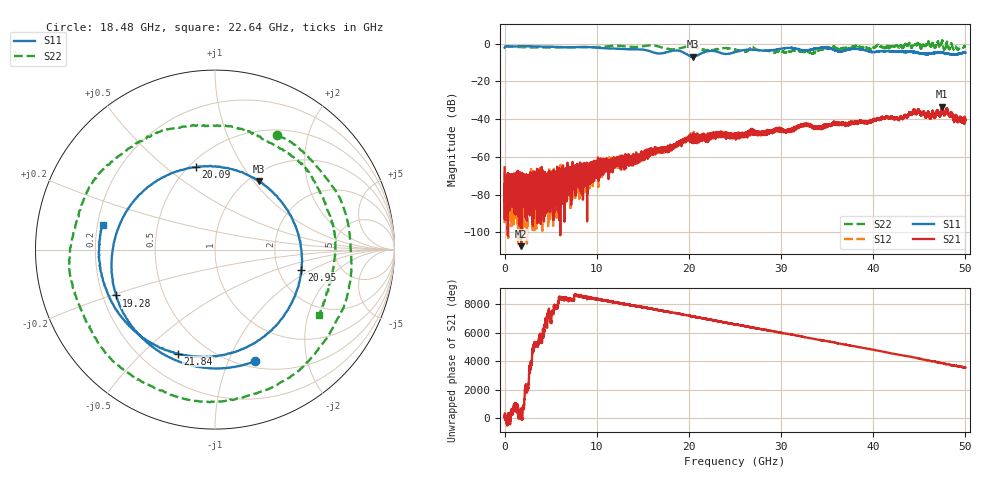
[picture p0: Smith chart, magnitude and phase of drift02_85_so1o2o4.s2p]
!Created with skrf (http://scikit-rf.org).
# Hz S RI R 50.0
!freq ReS11 ImS11 ReS21 ImS21 ReS12 ImS12 ReS22 ImS22
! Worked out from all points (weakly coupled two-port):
!   10001 points, 300 kHz to 50 GHz, reference 50 ohm
!   highest |S21| = -33.37 dB at 47.5 GHz (marker M1); lowest = -107.3 dB at 1.805 GHz (marker M2)
!   lowest |S11| = -6.9 dB at 20.42 GHz (marker M3), VSWR 2.64, Z = 55.6 + j53 ohm
!   |S11| at or under -10 dB: nowhere
!   |S22| runs from -5.3 to 1.7 dB; largest |S21 - S12| = 0.003
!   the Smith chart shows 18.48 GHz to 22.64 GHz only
!   S11 on the Smith chart (normalised r, x): 18.48 GHz: 0.57, -1.26; 19.28 GHz: 0.26, -0.21; 20.09 GHz: 0.54, +0.64; 20.95 GHz: 2.68, -0.80; 21.84 GHz: 0.35, -0.64; 22.64 GHz: 0.22, +0.10
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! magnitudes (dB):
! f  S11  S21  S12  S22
! 300 kHz  -2.1  -65.5  -68.0  -1.3
! 255.3 MHz  -1.4  -84.4  -78.8  -1.4
! 1.805 GHz  -1.4  -107.3  -80.4  -1.8
! 3.88 GHz  -1.5  -70.0  -74.7  -2.0
! 4.555 GHz  -1.6  -75.6  -83.3  -2.0
! 8.335 GHz  -1.7  -76.1  -70.2  -1.9
! 16.67 GHz  -5.2  -56.2  -57.0  -1.5
! 18.48 GHz  -3.6  -54.1  -53.6  -2.8
! 19.28 GHz  -4.3  -51.3  -51.2  -2.1
! 20.09 GHz  -6.5  -49.0  -49.5  -1.5
! 20.42 GHz  -6.9  -49.3  -51.6  -1.8
! 20.95 GHz  -6.1  -49.6  -50.4  -2.2
! 21.84 GHz  -4.2  -49.1  -50.9  -3.5
! 22.64 GHz  -3.9  -49.0  -47.7  -3.3
! 25 GHz  -4.5  -49.5  -48.2  -3.2
! 26.11 GHz  -3.3  -48.5  -48.4  -4.3
! 26.9 GHz  -3.2  -45.7  -46.6  -1.6
! 33.34 GHz  -3.0  -43.8  -43.9  -5.2
! 34.89 GHz  -2.2  -43.1  -43.6  -2.2
! 41.67 GHz  -3.9  -39.3  -39.5  -2.1
! 47.5 GHz  -4.9  -33.4  -33.6  1.5
! 50 GHz  -4.7  -40.5  -40.2  -1.6
